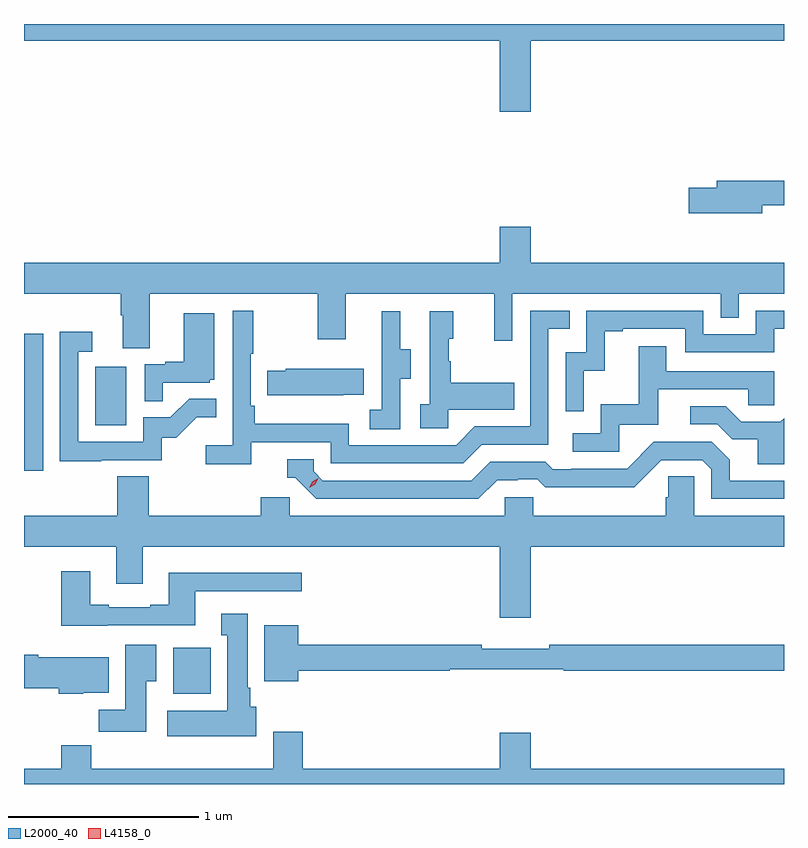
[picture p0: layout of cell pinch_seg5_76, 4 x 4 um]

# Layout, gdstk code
import gdstk
lib = gdstk.Library(unit=1e-6, precision=1e-09)
def R(c, l, rs):  # rectangles x0, y0, x1, y1
    for r in rs: c.add(gdstk.rectangle(r[:2], r[2:], *l))
def P(c, l, *ps):  # polygons
    for p in ps: c.add(gdstk.Polygon(p, *l))
L2000_40 = (2000, 40)
L4158_0 = (4158, 0)

pinch_seg5_76 = lib.new_cell('pinch_seg5_76')
R(pinch_seg5_76, L2000_40, [(1038.413,899.942,1038.61,900.184), (1037.628,901.116,1037.728,901.837), (1038.002,901.356,1038.166,901.663)])
P(pinch_seg5_76, L2000_40, [(1040.296,903.38),(1041.628,903.38),(1041.628,903.468),(1037.628,903.468),(1037.628,903.38),(1040.132,903.38),(1040.132,903.006),(1040.296,903.006)],
  [(1041.514,902.514),(1041.628,902.514),(1041.628,902.642),(1041.275,902.642),(1041.275,902.606),(1041.126,902.606),(1041.126,902.471),(1041.514,902.471)],
  [(1038.289,902.048),(1039.174,902.048),(1039.174,901.809),(1039.321,901.809),(1039.321,902.048),(1040.102,902.048),(1040.102,901.8),(1040.199,901.8),(1040.199,902.048),(1041.294,902.048),(1041.294,901.921),(1041.39,901.921),(1041.39,902.048),(1041.628,902.048),(1041.628,902.212),(1040.296,902.212),(1040.296,902.401),(1040.132,902.401),(1040.132,902.212),(1037.628,902.212),(1037.628,902.048),(1038.137,902.048),(1038.137,901.936),(1038.149,901.936),(1038.149,901.762),(1038.289,901.762)],
  [(1038.824,901.266),(1039.242,901.266),(1039.242,901.155),(1039.939,901.155),(1040.038,901.254),(1040.388,901.254),(1040.388,901.863),(1040.501,901.863),(1040.501,901.959),(1040.292,901.959),(1040.292,901.35),(1040.001,901.35),(1039.902,901.251),(1039.338,901.251),(1039.338,901.363),(1038.842,901.363),(1038.842,901.459),(1038.822,901.459),(1038.822,901.732),(1038.835,901.732),(1038.835,901.96),(1038.726,901.96),(1038.726,901.252),(1038.585,901.252),(1038.585,901.15),(1038.824,901.15)],
  [(1040.574,901.643),(1040.684,901.643),(1040.684,901.851),(1040.779,901.851),(1040.779,901.863),(1041.108,901.863),(1041.108,901.74),(1041.576,901.74),(1041.576,901.863),(1041.628,901.863),(1041.628,901.959),(1041.48,901.959),(1041.48,901.836),(1041.204,901.836),(1041.204,901.959),(1040.586,901.959),(1040.586,901.74),(1040.478,901.74),(1040.478,901.431),(1040.574,901.431)],
  [(1039.608,901.6),(1039.663,901.6),(1039.663,901.755),(1039.609,901.755),(1039.609,901.957),(1039.511,901.957),(1039.511,901.743),(1039.512,901.743),(1039.512,901.439),(1039.449,901.439),(1039.449,901.336),(1039.608,901.336)],
  [(1039.86,901.439),(1040.207,901.439),(1040.207,901.579),(1039.873,901.579),(1039.873,901.694),(1039.863,901.694),(1039.863,901.812),(1039.888,901.812),(1039.888,901.957),(1039.764,901.957),(1039.764,901.466),(1039.713,901.466),(1039.713,901.341),(1039.86,901.341)],
  [(1038.359,901.581),(1038.606,901.581),(1038.606,901.596),(1038.628,901.596),(1038.628,901.945),(1038.47,901.945),(1038.47,901.69),(1038.371,901.69),(1038.371,901.677),(1038.264,901.677),(1038.264,901.483),(1038.359,901.483)],
  [(1038.035,901.173),(1038.353,901.173),(1038.353,901.29),(1038.43,901.29),(1038.537,901.397),(1038.641,901.397),(1038.641,901.496),(1038.497,901.496),(1038.399,901.398),(1038.255,901.398),(1038.255,901.269),(1037.913,901.269),(1037.913,901.743),(1037.986,901.743),(1037.986,901.849),(1037.817,901.849),(1037.817,901.168),(1038.035,901.168)],
  [(1040.76,901.359),(1040.965,901.359),(1040.965,901.545),(1041.439,901.545),(1041.439,901.461),(1041.576,901.461),(1041.576,901.641),(1041.007,901.641),(1041.007,901.771),(1040.863,901.771),(1040.863,901.468),(1040.664,901.468),(1040.664,901.314),(1040.517,901.314),(1040.517,901.218),(1040.76,901.218)],
  [(1039.307,901.517),(1039.415,901.517),(1039.415,901.654),(1039.005,901.654),(1039.005,901.644),(1038.907,901.644),(1038.907,901.514),(1039.307,901.514)],
  [(1041.628,901.393),(1041.609,901.374),(1041.403,901.374),(1041.322,901.455),(1041.135,901.455),(1041.135,901.362),(1041.276,901.362),(1041.356,901.282),(1041.491,901.282),(1041.491,901.15),(1041.628,901.15)],
  [(1040.119,901.068),(1040.226,901.068),(1040.226,901.071),(1040.329,901.071),(1040.371,901.029),(1040.604,901.029),(1040.604,901.031),(1040.84,901.031),(1040.982,901.173),(1041.198,901.173),(1041.246,901.125),(1041.246,900.969),(1041.628,900.969),(1041.628,901.065),(1041.343,901.065),(1041.343,901.175),(1041.249,901.269),(1040.943,901.269),(1040.802,901.128),(1040.509,901.128),(1040.509,901.125),(1040.41,901.125),(1040.371,901.164),(1040.082,901.164),(1039.983,901.065),(1039.2,901.065),(1039.152,901.113),(1039.152,901.176),(1039.013,901.176),(1039.013,901.08),(1039.056,901.08),(1039.167,900.969),(1040.02,900.969)],
  [(1041.019,901.088),(1041.019,900.978),(1041.005,900.978),(1041.005,900.88),(1040.307,900.88),(1040.307,900.978),(1040.157,900.978),(1040.157,900.88),(1039.026,900.88),(1039.026,900.978),(1038.875,900.978),(1038.875,900.88),(1038.284,900.88),(1038.284,901.088),(1038.119,901.088),(1038.119,900.88),(1037.628,900.88),(1037.628,900.716),(1038.113,900.716),(1038.113,900.522),(1038.253,900.522),(1038.253,900.716),(1040.132,900.716),(1040.132,900.342),(1040.296,900.342),(1040.296,900.716),(1041.628,900.716),(1041.628,900.88),(1041.156,900.88),(1041.156,901.088)],
  [(1038.065,900.303),(1038.529,900.303),(1038.529,900.483),(1039.09,900.483),(1039.09,900.58),(1038.389,900.58),(1038.389,900.412),(1038.293,900.412),(1038.293,900.399),(1038.073,900.399),(1038.073,900.412),(1037.977,900.412),(1037.977,900.589),(1037.825,900.589),(1037.825,900.302),(1038.065,900.302)],
  [(1038.85,899.874),(1038.82,899.874),(1038.82,899.974),(1038.805,899.974),(1038.805,900.364),(1038.665,900.364),(1038.665,900.251),(1038.698,900.251),(1038.698,899.854),(1038.381,899.854),(1038.381,899.72),(1038.85,899.72)],
  [(1039.072,900.064),(1039.868,900.064),(1039.868,900.072),(1040.468,900.072),(1040.468,900.064),(1041.628,900.064),(1041.628,900.2),(1040.392,900.2),(1040.392,900.181),(1040.036,900.181),(1040.036,900.2),(1039.072,900.2),(1039.072,900.304),(1038.893,900.304),(1038.893,900.008),(1039.072,900.008)],
  [(1038.271,900.008),(1038.325,900.008),(1038.325,900.202),(1038.161,900.202),(1038.161,899.86),(1038.022,899.86),(1038.022,899.742),(1038.271,899.742)],
  [(1037.94,899.948),(1038.073,899.948),(1038.073,900.136),(1037.704,900.136),(1037.704,900.149),(1037.628,900.149),(1037.628,899.971),(1037.81,899.971),(1037.81,899.942),(1037.94,899.942)],
  [(1041.628,899.548),(1040.296,899.548),(1040.296,899.737),(1040.132,899.737),(1040.132,899.548),(1039.094,899.548),(1039.094,899.743),(1038.941,899.743),(1038.941,899.548),(1037.981,899.548),(1037.981,899.672),(1037.825,899.672),(1037.825,899.548),(1037.628,899.548),(1037.628,899.468),(1041.628,899.468)])
P(pinch_seg5_76, L4158_0, [(1039.129,901.026),(1039.129,901.027),(1039.146,901.059),(1039.177,901.078),(1039.177,901.078),(1039.177,901.078),(1039.161,901.046),(1039.13,901.026)])

lib.write_gds('pinch_seg5_76.gds')
